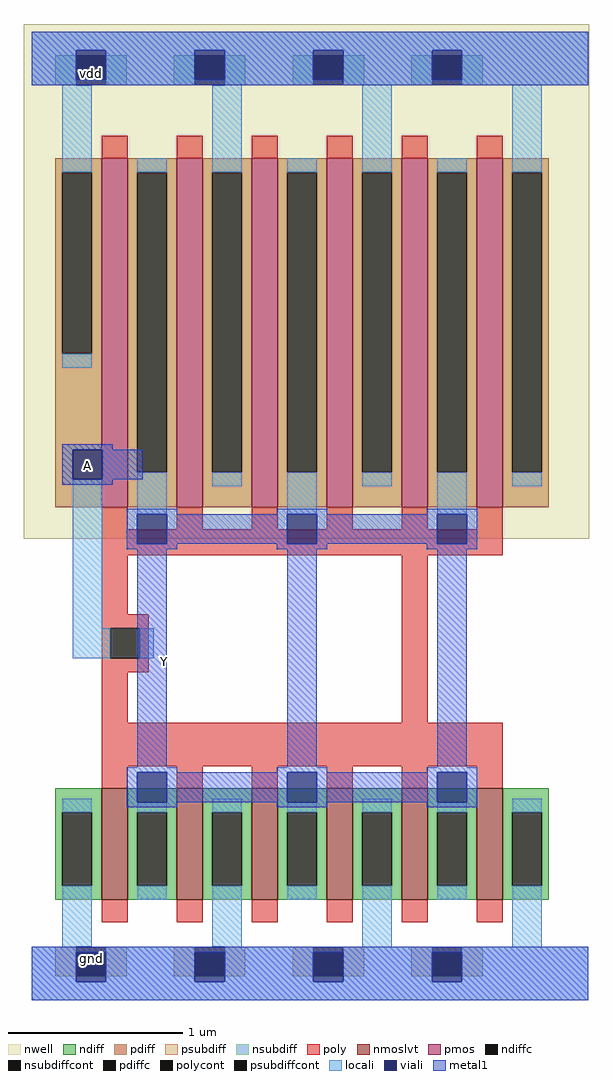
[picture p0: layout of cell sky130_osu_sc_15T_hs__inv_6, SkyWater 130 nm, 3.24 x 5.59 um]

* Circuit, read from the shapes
.subckt sky130_osu_sc_15T_hs__inv_6 A Y
XM1 Y A gnd gnd sky130_fd_pr__nfet_01v8_lvt w=0.64 l=0.15 m=6
XM2 Y A vdd vdd sky130_fd_pr__pfet_01v8 w=2 l=0.15 m=6
.ends

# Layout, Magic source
magic
tech sky130A
magscale 1 2
<< nwell >>
rect -9 529 639 1119
<< nmoslvt >>
rect 80 115 110 243
rect 166 115 196 243
rect 252 115 282 243
rect 338 115 368 243
rect 424 115 454 243
rect 510 115 540 243
<< pmos >>
rect 80 565 110 965
rect 166 565 196 965
rect 252 565 282 965
rect 338 565 368 965
rect 424 565 454 965
rect 510 565 540 965
<< ndiff >>
rect 27 215 80 243
rect 27 131 35 215
rect 69 131 80 215
rect 27 115 80 131
rect 110 215 166 243
rect 110 131 121 215
rect 155 131 166 215
rect 110 115 166 131
rect 196 215 252 243
rect 196 131 207 215
rect 241 131 252 215
rect 196 115 252 131
rect 282 215 338 243
rect 282 131 293 215
rect 327 131 338 215
rect 282 115 338 131
rect 368 215 424 243
rect 368 131 379 215
rect 413 131 424 215
rect 368 115 424 131
rect 454 215 510 243
rect 454 131 465 215
rect 499 131 510 215
rect 454 115 510 131
rect 540 215 593 243
rect 540 131 551 215
rect 585 131 593 215
rect 540 115 593 131
<< pdiff >>
rect 27 949 80 965
rect 27 741 35 949
rect 69 741 80 949
rect 27 565 80 741
rect 110 949 166 965
rect 110 605 121 949
rect 155 605 166 949
rect 110 565 166 605
rect 196 949 252 965
rect 196 605 207 949
rect 241 605 252 949
rect 196 565 252 605
rect 282 949 338 965
rect 282 605 293 949
rect 327 605 338 949
rect 282 565 338 605
rect 368 949 424 965
rect 368 605 379 949
rect 413 605 424 949
rect 368 565 424 605
rect 454 949 510 965
rect 454 605 465 949
rect 499 605 510 949
rect 454 565 510 605
rect 540 949 593 965
rect 540 605 551 949
rect 585 605 593 949
rect 540 565 593 605
<< ndiffc >>
rect 35 131 69 215
rect 121 131 155 215
rect 207 131 241 215
rect 293 131 327 215
rect 379 131 413 215
rect 465 131 499 215
rect 551 131 585 215
<< pdiffc >>
rect 35 741 69 949
rect 121 605 155 949
rect 207 605 241 949
rect 293 605 327 949
rect 379 605 413 949
rect 465 605 499 949
rect 551 605 585 949
<< psubdiff >>
rect 27 27 51 61
rect 85 27 109 61
rect 163 27 187 61
rect 221 27 245 61
rect 299 27 323 61
rect 357 27 381 61
rect 435 27 459 61
rect 493 27 517 61
<< nsubdiff >>
rect 27 1049 51 1083
rect 85 1049 109 1083
rect 163 1049 187 1083
rect 221 1049 245 1083
rect 299 1049 323 1083
rect 357 1049 381 1083
rect 435 1049 459 1083
rect 493 1049 517 1083
<< psubdiffcont >>
rect 51 27 85 61
rect 187 27 221 61
rect 323 27 357 61
rect 459 27 493 61
<< nsubdiffcont >>
rect 51 1049 85 1083
rect 187 1049 221 1083
rect 323 1049 357 1083
rect 459 1049 493 1083
<< poly >>
rect 80 965 110 991
rect 166 965 196 991
rect 252 965 282 991
rect 338 965 368 991
rect 424 965 454 991
rect 510 965 540 991
rect 80 540 110 565
rect 166 540 196 565
rect 252 540 282 565
rect 338 540 368 565
rect 424 540 454 565
rect 510 540 540 565
rect 80 510 540 540
rect 80 442 110 510
rect 80 426 134 442
rect 80 392 90 426
rect 124 392 134 426
rect 80 376 134 392
rect 80 318 110 376
rect 424 318 454 510
rect 80 268 540 318
rect 80 243 110 268
rect 166 243 196 268
rect 252 243 282 268
rect 338 243 368 268
rect 424 243 454 268
rect 510 243 540 268
rect 80 89 110 115
rect 166 89 196 115
rect 252 89 282 115
rect 338 89 368 115
rect 424 89 454 115
rect 510 89 540 115
<< polycont >>
rect 90 392 124 426
<< locali >>
rect 0 1089 638 1110
rect 0 1049 51 1089
rect 85 1049 187 1089
rect 221 1049 323 1089
rect 357 1049 459 1089
rect 493 1049 638 1089
rect 35 949 69 1049
rect 35 725 69 741
rect 121 949 155 965
rect 47 426 81 597
rect 121 557 155 605
rect 207 949 241 1049
rect 207 589 241 605
rect 293 949 327 965
rect 293 557 327 605
rect 379 949 413 1049
rect 379 589 413 605
rect 465 949 499 965
rect 465 557 499 605
rect 551 949 585 1049
rect 551 589 585 605
rect 47 392 90 426
rect 124 392 140 426
rect 35 215 69 231
rect 35 61 69 131
rect 121 215 155 227
rect 121 115 155 131
rect 207 215 241 231
rect 207 61 241 131
rect 293 215 327 227
rect 293 115 327 131
rect 379 215 413 231
rect 379 61 413 131
rect 465 215 499 227
rect 465 115 499 131
rect 551 215 585 231
rect 551 61 585 131
rect 0 21 51 61
rect 85 21 187 61
rect 221 21 323 61
rect 357 21 459 61
rect 493 21 638 61
rect 0 0 638 21
<< viali >>
rect 51 1083 85 1089
rect 51 1055 85 1083
rect 187 1083 221 1089
rect 187 1055 221 1083
rect 323 1083 357 1089
rect 323 1055 357 1083
rect 459 1083 493 1089
rect 459 1055 493 1083
rect 47 597 81 631
rect 121 523 155 557
rect 293 523 327 557
rect 465 523 499 557
rect 121 227 155 261
rect 293 227 327 261
rect 465 227 499 261
rect 51 27 85 55
rect 51 21 85 27
rect 187 27 221 55
rect 187 21 221 27
rect 323 27 357 55
rect 323 21 357 27
rect 459 27 493 55
rect 459 21 493 27
<< metal1 >>
rect 0 1089 638 1110
rect 0 1055 51 1089
rect 85 1055 187 1089
rect 221 1055 323 1089
rect 357 1055 459 1089
rect 493 1055 638 1089
rect 0 1049 638 1055
rect 35 631 93 637
rect 35 597 47 631
rect 81 597 127 631
rect 35 591 93 597
rect 109 557 167 563
rect 281 557 339 563
rect 453 557 511 563
rect 109 523 121 557
rect 155 523 293 557
rect 327 523 465 557
rect 499 523 511 557
rect 109 517 167 523
rect 281 517 339 523
rect 453 517 511 523
rect 121 267 155 517
rect 293 267 327 517
rect 465 267 499 517
rect 109 261 167 267
rect 281 261 339 267
rect 453 261 511 267
rect 109 227 121 261
rect 155 227 293 261
rect 327 227 465 261
rect 499 227 511 261
rect 109 221 167 227
rect 281 221 339 227
rect 453 221 511 227
rect 0 55 638 61
rect 0 21 51 55
rect 85 21 187 55
rect 221 21 323 55
rect 357 21 459 55
rect 493 21 638 55
rect 0 0 638 21
<< labels >>
rlabel viali 64 613 64 613 1 A
port 1 n
rlabel metal1 152 388 152 388 1 Y
port 2 n
rlabel viali 68 48 68 48 1 gnd
rlabel viali 68 1062 68 1062 1 vdd
<< end >>
